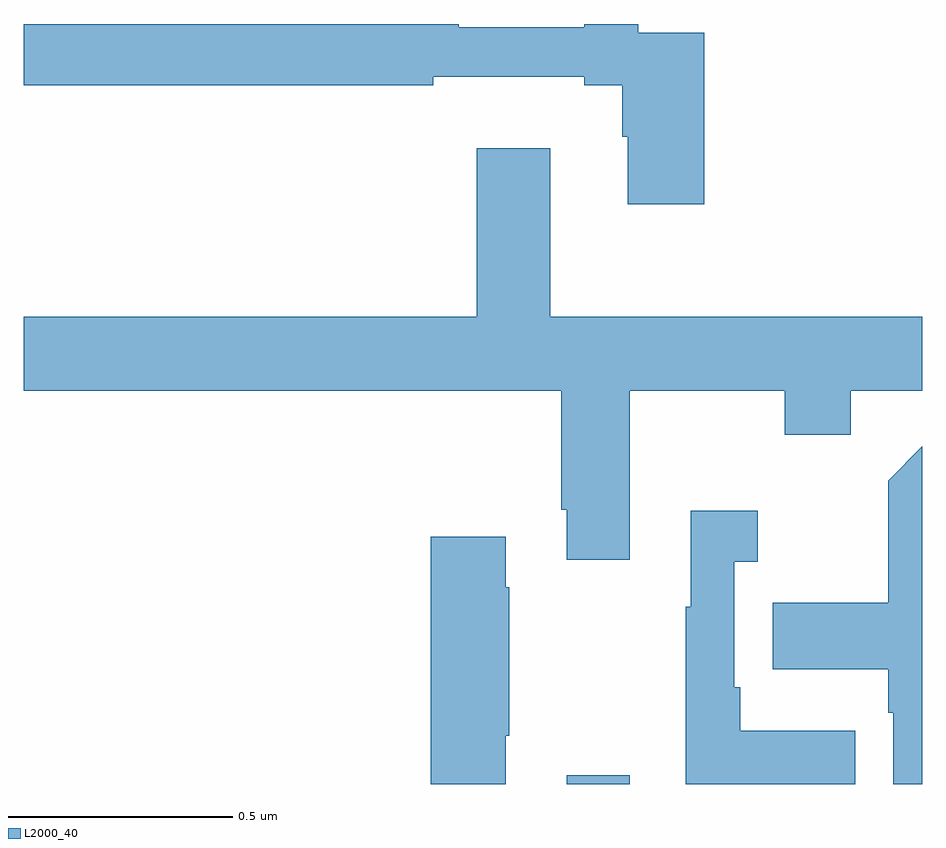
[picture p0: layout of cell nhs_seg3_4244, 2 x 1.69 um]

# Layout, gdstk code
import gdstk
lib = gdstk.Library(unit=1e-6, precision=1e-09)
def R(c, l, rs):  # rectangles x0, y0, x1, y1
    for r in rs: c.add(gdstk.rectangle(r[:2], r[2:], *l))
def P(c, l, *ps):  # polygons
    for p in ps: c.add(gdstk.Polygon(p, *l))
L2000_40 = (2000, 40)

nhs_seg3_4244 = lib.new_cell('nhs_seg3_4244')
R(nhs_seg3_4244, L2000_40, [(165.209,673.4,165.349,673.42)])
P(nhs_seg3_4244, L2000_40, [(165.515,675.072),(165.368,675.072),(165.368,675.092),(165.248,675.092),(165.248,675.085),(164.968,675.085),(164.968,675.092),(164,675.092),(164,674.956),(164.912,674.956),(164.912,674.975),(165.248,674.975),(165.248,674.956),(165.332,674.956),(165.332,674.841),(165.344,674.841),(165.344,674.691),(165.515,674.691)],
  [(165.349,674.276),(165.694,674.276),(165.694,674.177),(165.841,674.177),(165.841,674.276),(166,674.276),(166,674.44),(165.172,674.44),(165.172,674.815),(165.008,674.815),(165.008,674.44),(164,674.44),(164,674.276),(165.197,674.276),(165.197,674.011),(165.209,674.011),(165.209,673.899),(165.349,673.899)],
  [(166,674.152),(165.924,674.075),(165.924,673.803),(165.667,673.803),(165.667,673.655),(165.924,673.655),(165.924,673.559),(165.936,673.559),(165.936,673.4),(166,673.4)],
  [(165.851,673.519),(165.595,673.519),(165.595,673.615),(165.582,673.615),(165.582,673.895),(165.634,673.895),(165.634,674.008),(165.485,674.008),(165.485,673.795),(165.474,673.795),(165.474,673.4),(165.851,673.4)],
  [(165.073,673.507),(165.081,673.507),(165.081,673.838),(165.073,673.838),(165.073,673.951),(164.906,673.951),(164.906,673.4),(165.073,673.4)])

lib.write_gds('nhs_seg3_4244.gds')
